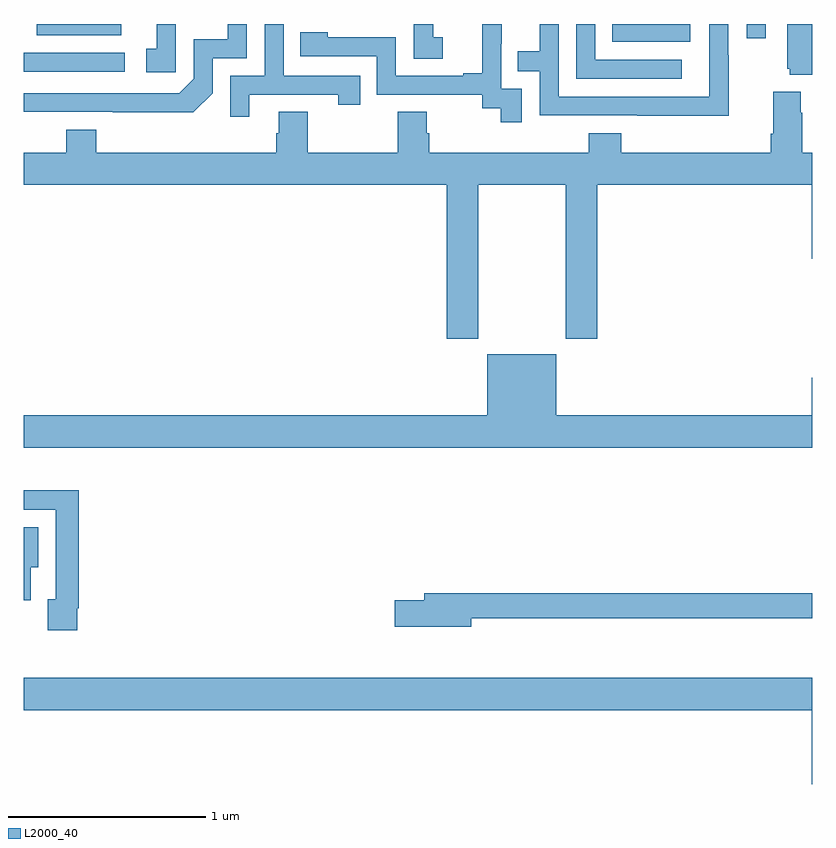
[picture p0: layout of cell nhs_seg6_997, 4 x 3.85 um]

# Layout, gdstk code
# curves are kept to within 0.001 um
import gdstk
lib = gdstk.Library(unit=1e-6, precision=1e-09)
def R(c, l, rs):  # rectangles x0, y0, x1, y1
    for r in rs: c.add(gdstk.rectangle(r[:2], r[2:], *l))
def P(c, l, *ps):  # polygons
    for p in ps: c.add(gdstk.Polygon(p, *l))
L2000_40 = (2000, 40)

nhs_seg6_997 = lib.new_cell('nhs_seg6_997')
R(nhs_seg6_997, L2000_40, [(173,933.258,173.512,933.354), (175.984,933.41,176.38,933.5), (176.667,933.429,176.763,933.5), (173.067,933.443,173.494,933.5)])
P(nhs_seg6_997, L2000_40, [(176.338,933.318),(175.899,933.318),(175.899,933.5),(175.803,933.5),(175.803,933.222),(176.338,933.222)],
  [(177,933.5),(176.873,933.5),(176.873,933.273),(176.885,933.273),(176.885,933.242),(177,933.242)],
  [(173.958,933.15),(173.958,933.327),(174.132,933.327),(174.132,933.5),(174.035,933.5),(174.035,933.423),(173.862,933.423),(173.862,933.222),(173.79,933.15),(173,933.15),(173,933.054),(173.86,933.053)],
  [(175.126,933.433),(175.077,933.433),(175.077,933.5),(174.978,933.5),(174.978,933.324),(175.126,933.324)],
  [(174.145,933.141),(174.596,933.141),(174.596,933.09),(174.707,933.09),(174.707,933.237),(174.318,933.237),(174.318,933.5),(174.222,933.5),(174.222,933.237),(174.048,933.237),(174.048,933.03),(174.145,933.03)],
  [(175.527,933.171),(175.422,933.171),(175.422,933.401),(175.424,933.401),(175.424,933.5),(175.325,933.5),(175.325,933.25),(175.229,933.25),(175.229,933.237),(174.888,933.237),(174.888,933.432),(174.543,933.432),(174.543,933.459),(174.403,933.459),(174.403,933.336),(174.792,933.336),(174.792,933.141),(175.326,933.141),(175.326,933.073),(175.419,933.073),(175.419,933.003),(175.527,933.003)],
  [(176.577,933.341),(176.574,933.341),(176.574,933.5),(176.478,933.5),(176.478,933.344),(176.477,933.344),(176.477,933.132),(175.713,933.132),(175.713,933.5),(175.617,933.5),(175.617,933.362),(175.507,933.362),(175.507,933.261),(175.617,933.261),(175.617,933.036),(176.113,933.036),(176.113,933.035),(176.577,933.035)],
  [(173.772,933.5),(173.675,933.5),(173.675,933.375),(173.622,933.375),(173.622,933.255),(173.772,933.255)],
  [(175.305,932.684),(175.75,932.684),(175.75,931.905),(175.91,931.905),(175.91,932.684),(176.996,932.684),(176.996,932.31),(177,932.31),(177,932.848),(176.949,932.848),(176.949,933.05),(176.941,933.05),(176.941,933.157),(176.801,933.157),(176.801,932.944),(176.789,932.944),(176.789,932.848),(176.03,932.848),(176.03,932.947),(175.865,932.947),(175.865,932.848),(175.058,932.848),(175.058,932.946),(175.045,932.946),(175.045,933.056),(174.898,933.056),(174.898,932.848),(174.441,932.848),(174.441,933.056),(174.293,933.056),(174.293,932.946),(174.281,932.946),(174.281,932.848),(173.369,932.848),(173.369,932.965),(173.216,932.965),(173.216,932.848),(173,932.848),(173,932.684),(175.145,932.684),(175.145,931.905),(175.305,931.905)],
  [(177,931.705),(176.996,931.705),(176.996,931.516),(175.702,931.516),(175.702,931.825),(175.352,931.825),(175.352,931.516),(173,931.516),(173,931.352),(177,931.352)],
  [(173.272,930.538),(173.279,930.538),(173.279,931.136),(173,931.136),(173,931.038),(173.163,931.038),(173.163,930.582),(173.123,930.582),(173.123,930.426),(173.272,930.426)],
  [(173.035,930.746),(173.074,930.746),(173.074,930.949),(173,930.949),(173,930.578),(173.035,930.578)],
  [(175.27,930.486),(177,930.486),(177,930.614),(175.031,930.614),(175.031,930.578),(174.882,930.578),(174.882,930.443),(175.27,930.443)],
  [(177,930.184),(173,930.184),(173,930.02),(176.996,930.02),(176.996,929.646),(177,929.646)])

lib.write_gds('nhs_seg6_997.gds')
